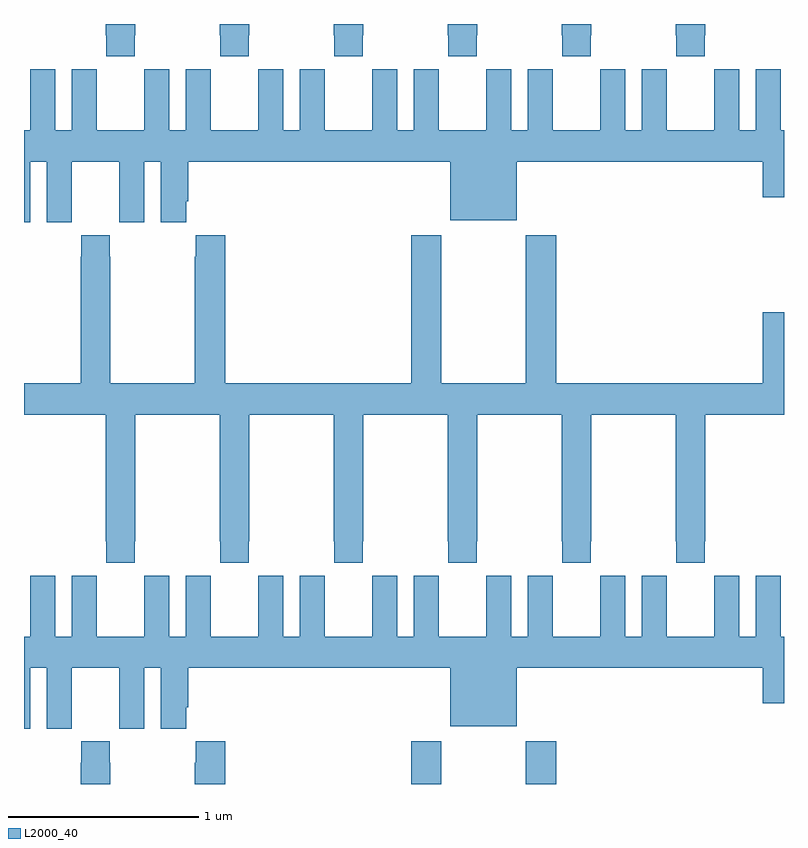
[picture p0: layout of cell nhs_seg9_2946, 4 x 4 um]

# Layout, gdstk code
import gdstk
lib = gdstk.Library(unit=1e-6, precision=1e-09)
def R(c, l, rs):  # rectangles x0, y0, x1, y1
    for r in rs: c.add(gdstk.rectangle(r[:2], r[2:], *l))
def P(c, l, *ps):  # polygons
    for p in ps: c.add(gdstk.Polygon(p, *l))
L2000_40 = (2000, 40)

nhs_seg9_2946 = lib.new_cell('nhs_seg9_2946')
R(nhs_seg9_2946, L2000_40, [(283.037,1170.5,283.197,1170.724), (283.642,1170.5,283.802,1170.724)])
P(nhs_seg9_2946, L2000_40, [(282.183,1174.441),(282.186,1174.441),(282.186,1174.5),(282.031,1174.5),(282.031,1174.441),(282.033,1174.441),(282.033,1174.329),(282.183,1174.329)],
  [(282.783,1174.441),(282.786,1174.441),(282.786,1174.5),(282.631,1174.5),(282.631,1174.441),(282.633,1174.441),(282.633,1174.329),(282.783,1174.329)],
  [(283.383,1174.441),(283.386,1174.441),(283.386,1174.5),(283.231,1174.5),(283.231,1174.441),(283.233,1174.441),(283.233,1174.329),(283.383,1174.329)],
  [(283.983,1174.441),(283.986,1174.441),(283.986,1174.5),(283.831,1174.5),(283.831,1174.441),(283.833,1174.441),(283.833,1174.329),(283.983,1174.329)],
  [(284.583,1174.441),(284.586,1174.441),(284.586,1174.5),(284.431,1174.5),(284.431,1174.441),(284.433,1174.441),(284.433,1174.329),(284.583,1174.329)],
  [(281.583,1174.441),(281.586,1174.441),(281.586,1174.5),(281.431,1174.5),(281.431,1174.441),(281.433,1174.441),(281.433,1174.329),(281.583,1174.329)],
  [(283.244,1173.467),(283.594,1173.467),(283.594,1173.776),(284.888,1173.776),(284.888,1173.588),(285,1173.588),(285,1173.94),(284.983,1173.94),(284.983,1174.148),(284.982,1174.148),(284.982,1174.261),(284.852,1174.261),(284.852,1173.94),(284.764,1173.94),(284.764,1174.261),(284.634,1174.261),(284.634,1174.148),(284.633,1174.148),(284.633,1173.94),(284.383,1173.94),(284.383,1174.148),(284.382,1174.148),(284.382,1174.261),(284.252,1174.261),(284.252,1173.94),(284.164,1173.94),(284.164,1174.261),(284.034,1174.261),(284.034,1174.148),(284.033,1174.148),(284.033,1173.94),(283.783,1173.94),(283.783,1174.148),(283.782,1174.148),(283.782,1174.261),(283.652,1174.261),(283.652,1173.94),(283.564,1173.94),(283.564,1174.261),(283.434,1174.261),(283.434,1174.148),(283.433,1174.148),(283.433,1173.94),(283.183,1173.94),(283.183,1174.148),(283.182,1174.148),(283.182,1174.261),(283.052,1174.261),(283.052,1173.94),(282.964,1173.94),(282.964,1174.261),(282.834,1174.261),(282.834,1174.148),(282.833,1174.148),(282.833,1173.94),(282.583,1173.94),(282.583,1174.148),(282.582,1174.148),(282.582,1174.261),(282.452,1174.261),(282.452,1173.94),(282.364,1173.94),(282.364,1174.261),(282.234,1174.261),(282.234,1174.148),(282.233,1174.148),(282.233,1173.94),(281.983,1173.94),(281.983,1174.148),(281.982,1174.148),(281.982,1174.261),(281.852,1174.261),(281.852,1173.94),(281.764,1173.94),(281.764,1174.261),(281.634,1174.261),(281.634,1174.148),(281.633,1174.148),(281.633,1173.94),(281.383,1173.94),(281.383,1174.148),(281.382,1174.148),(281.382,1174.261),(281.252,1174.261),(281.252,1173.94),(281.164,1173.94),(281.164,1174.261),(281.034,1174.261),(281.034,1174.148),(281.033,1174.148),(281.033,1173.94),(281,1173.94),(281,1173.456),(281.032,1173.456),(281.032,1173.776),(281.12,1173.776),(281.12,1173.456),(281.25,1173.456),(281.25,1173.568),(281.251,1173.568),(281.251,1173.776),(281.501,1173.776),(281.501,1173.568),(281.502,1173.568),(281.502,1173.456),(281.632,1173.456),(281.632,1173.776),(281.72,1173.776),(281.72,1173.456),(281.854,1173.456),(281.854,1173.568),(281.864,1173.568),(281.864,1173.776),(283.244,1173.776)],
  [(282.059,1173.388),(281.905,1173.388),(281.905,1173.275),(281.899,1173.275),(281.899,1172.608),(281.454,1172.608),(281.454,1173.275),(281.451,1173.275),(281.451,1173.388),(281.301,1173.388),(281.301,1173.275),(281.299,1173.275),(281.299,1172.608),(281,1172.608),(281,1172.444),(281.431,1172.444),(281.431,1171.777),(281.433,1171.777),(281.433,1171.665),(281.583,1171.665),(281.583,1171.777),(281.586,1171.777),(281.586,1172.444),(282.031,1172.444),(282.031,1171.777),(282.033,1171.777),(282.033,1171.665),(282.183,1171.665),(282.183,1171.777),(282.186,1171.777),(282.186,1172.444),(282.631,1172.444),(282.631,1171.777),(282.633,1171.777),(282.633,1171.665),(282.783,1171.665),(282.783,1171.777),(282.786,1171.777),(282.786,1172.444),(283.231,1172.444),(283.231,1171.777),(283.233,1171.777),(283.233,1171.665),(283.383,1171.665),(283.383,1171.777),(283.386,1171.777),(283.386,1172.444),(283.831,1172.444),(283.831,1171.777),(283.833,1171.777),(283.833,1171.665),(283.983,1171.665),(283.983,1171.777),(283.986,1171.777),(283.986,1172.444),(284.431,1172.444),(284.431,1171.777),(284.433,1171.777),(284.433,1171.665),(284.583,1171.665),(284.583,1171.777),(284.586,1171.777),(284.586,1172.444),(285,1172.444),(285,1172.983),(284.888,1172.983),(284.888,1172.608),(283.802,1172.608),(283.802,1173.388),(283.642,1173.388),(283.642,1172.608),(283.197,1172.608),(283.197,1173.388),(283.037,1173.388),(283.037,1172.608),(282.059,1172.608)],
  [(281.032,1171.112),(281.12,1171.112),(281.12,1170.792),(281.25,1170.792),(281.25,1170.904),(281.251,1170.904),(281.251,1171.112),(281.501,1171.112),(281.501,1170.904),(281.502,1170.904),(281.502,1170.792),(281.632,1170.792),(281.632,1171.112),(281.72,1171.112),(281.72,1170.792),(281.854,1170.792),(281.854,1170.904),(281.864,1170.904),(281.864,1171.112),(283.244,1171.112),(283.244,1170.803),(283.594,1170.803),(283.594,1171.112),(284.888,1171.112),(284.888,1170.924),(285,1170.924),(285,1171.276),(284.983,1171.276),(284.983,1171.484),(284.982,1171.484),(284.982,1171.597),(284.852,1171.597),(284.852,1171.276),(284.764,1171.276),(284.764,1171.597),(284.634,1171.597),(284.634,1171.484),(284.633,1171.484),(284.633,1171.276),(284.383,1171.276),(284.383,1171.484),(284.382,1171.484),(284.382,1171.597),(284.252,1171.597),(284.252,1171.276),(284.164,1171.276),(284.164,1171.597),(284.034,1171.597),(284.034,1171.484),(284.033,1171.484),(284.033,1171.276),(283.783,1171.276),(283.783,1171.484),(283.782,1171.484),(283.782,1171.597),(283.652,1171.597),(283.652,1171.276),(283.564,1171.276),(283.564,1171.597),(283.434,1171.597),(283.434,1171.484),(283.433,1171.484),(283.433,1171.276),(283.183,1171.276),(283.183,1171.484),(283.182,1171.484),(283.182,1171.597),(283.052,1171.597),(283.052,1171.276),(282.964,1171.276),(282.964,1171.597),(282.834,1171.597),(282.834,1171.484),(282.833,1171.484),(282.833,1171.276),(282.583,1171.276),(282.583,1171.484),(282.582,1171.484),(282.582,1171.597),(282.452,1171.597),(282.452,1171.276),(282.364,1171.276),(282.364,1171.597),(282.234,1171.597),(282.234,1171.484),(282.233,1171.484),(282.233,1171.276),(281.983,1171.276),(281.983,1171.484),(281.982,1171.484),(281.982,1171.597),(281.852,1171.597),(281.852,1171.276),(281.764,1171.276),(281.764,1171.597),(281.634,1171.597),(281.634,1171.484),(281.633,1171.484),(281.633,1171.276),(281.383,1171.276),(281.383,1171.484),(281.382,1171.484),(281.382,1171.597),(281.252,1171.597),(281.252,1171.276),(281.164,1171.276),(281.164,1171.597),(281.034,1171.597),(281.034,1171.484),(281.033,1171.484),(281.033,1171.276),(281,1171.276),(281,1170.792),(281.032,1170.792)],
  [(281.454,1170.611),(281.451,1170.611),(281.451,1170.724),(281.301,1170.724),(281.301,1170.611),(281.299,1170.611),(281.299,1170.5),(281.454,1170.5)],
  [(282.059,1170.724),(281.905,1170.724),(281.905,1170.611),(281.899,1170.611),(281.899,1170.5),(282.059,1170.5)])

lib.write_gds('nhs_seg9_2946.gds')
